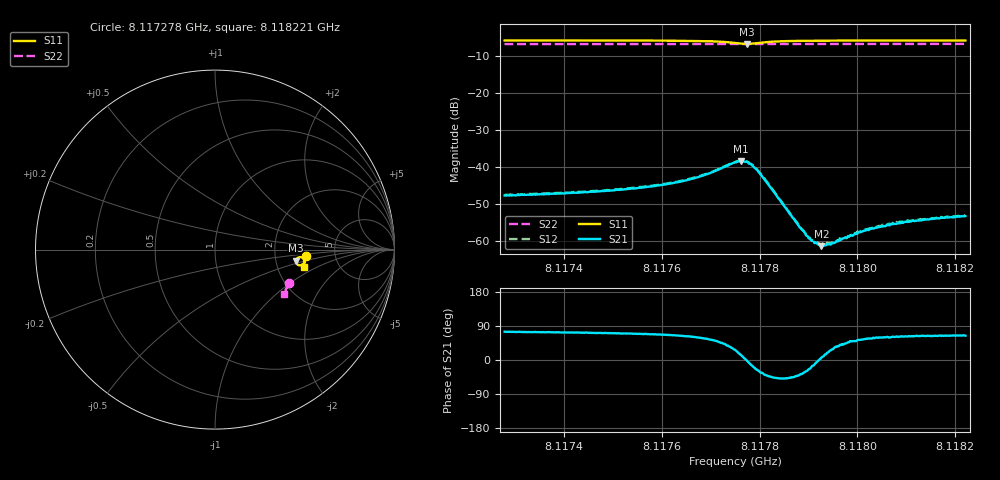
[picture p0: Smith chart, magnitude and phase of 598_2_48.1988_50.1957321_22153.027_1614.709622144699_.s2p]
#  HZ  S  RI  R  50.00
! Rohde & Schwarz Vector Network Analyzer
! Rohde-Schwarz,ZNB20-2Port,1311601062101988,3.16
! Created: UTC 3/20/2024, 12:02:53 PM
! freq[Hz]  re:S11  im:S11  re:S21  im:S21  re:S12  im:S12  re:S22  im:S22
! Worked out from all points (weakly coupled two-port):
!   401 points, 8.117278 GHz to 8.118221 GHz, reference 50 ohm
!   highest |S21| = -38.46 dB at 8.117761 GHz (marker M1); lowest = -61.4 dB at 8.117926 GHz (marker M2)
!   lowest |S11| = -6.8 dB at 8.117773 GHz (marker M3), VSWR 2.67, Z = 130 - j20.4 ohm
!   |S11| at or under -10 dB: nowhere
!   |S22| runs from -6.9 to -6.8 dB; largest |S21 - S12| = 0.00041
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8.1172782e9  0.5049 -0.0371  0.00109 0.00397  0.00114 0.00402  0.4118 -0.1869
8.1174361e9  0.5031 -0.0508  0.00139 0.00433  0.00144 0.00439  0.4075 -0.197
8.1175163e9  0.5016 -0.0584  0.00167 0.00462  0.00171 0.00476  0.4053 -0.2022
8.1175941e9  0.4993 -0.067  0.00217 0.00518  0.00224 0.00527  0.4028 -0.2073
8.1176389e9  0.4965 -0.0731  0.0028 0.00568  0.00291 0.0058  0.4013 -0.2102
8.1176789e9  0.4915 -0.0799  0.00387 0.00634  0.00399 0.00645  0.3999 -0.2128
8.1177497e9  0.4607 -0.0839  0.0103 0.00516  0.0104 0.0051  0.3965 -0.2168
8.1177614e9  0.4532 -0.0754  0.0116 0.00275  0.0119 0.00287  0.3958 -0.217
8.1177732e9  0.4506 -0.0623  0.0117 -0.000168  0.0119 -0.000185  0.3955 -0.2172
8.117785e9  0.4558 -0.0501  0.0101 -0.00279  0.0104 -0.00291  0.3957 -0.2175
8.1177992e9  0.4675 -0.0426  0.00722 -0.00415  0.00733 -0.00421  0.3957 -0.218
8.1178817e9  0.4967 -0.059  0.00118 -0.000977  0.00123 -0.00105  0.3944 -0.2242
8.1178982e9  0.4977 -0.0622  0.00103 -0.000537  0.00107 -0.000542  0.3938 -0.2251
8.1179076e9  0.498 -0.0639  0.000968 -0.000275  0.000969 -0.000303  0.3935 -0.2257
8.1179264e9  0.4987 -0.067  0.000846 9.35e-05  0.000888 9.53e-05  0.393 -0.2271
8.11795e9  0.4987 -0.0705  0.000822 0.000447  0.000825 0.00047  0.3921 -0.2285
8.1179783e9  0.499 -0.0739  0.000787 0.000781  0.000752 0.000795  0.3912 -0.2305
8.1180042e9  0.4988 -0.077  0.00079 0.00105  0.000775 0.00108  0.3904 -0.232
8.1180396e9  0.4986 -0.0807  0.00077 0.0013  0.000846 0.00132  0.3891 -0.2344
8.1180655e9  0.4984 -0.0834  0.000843 0.00139  0.000825 0.0015  0.3883 -0.2357
8.118141e9  0.4973 -0.0903  0.000878 0.00174  0.000921 0.00176  0.3857 -0.2406
8.1182211e9  0.4961 -0.0971  0.000947 0.00195  0.000969 0.00201  0.3828 -0.2456
